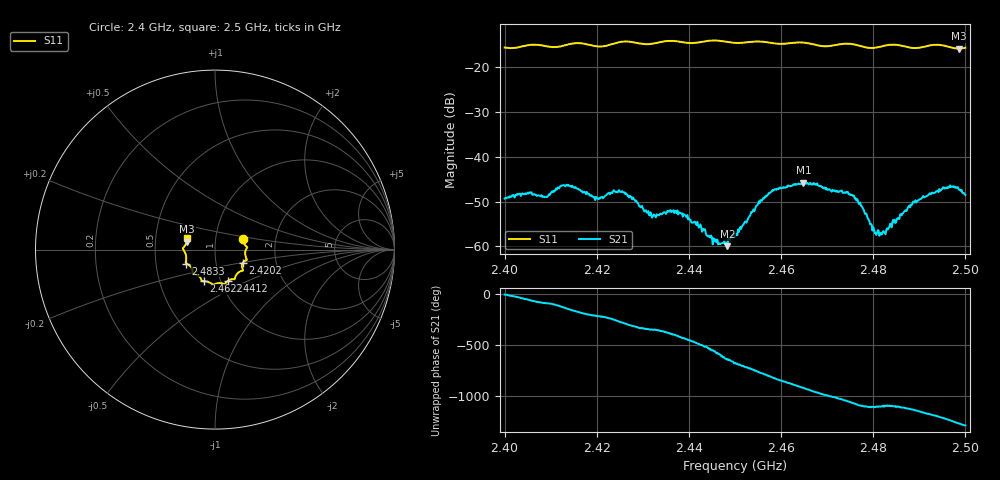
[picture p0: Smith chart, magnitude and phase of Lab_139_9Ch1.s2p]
# Hz S RI R 50
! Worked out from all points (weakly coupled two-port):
!   601 points, 2.4 GHz to 2.5 GHz, reference 50 ohm
!   highest |S21| = -45.77 dB at 2.4648 GHz (marker M1); lowest = -60.0 dB at 2.4483 GHz (marker M2)
!   lowest |S11| = -15.8 dB at 2.4987 GHz (marker M3), VSWR 1.39, Z = 36.4 + j3.36 ohm
!   |S11| at or under -10 dB: start of sweep to end of sweep
!   S12 and S22 are empty: the file has one direction only
!   S11 on the Smith chart (normalised r, x): 2.4 GHz: 1.36, +0.16; 2.4202 GHz: 1.35, -0.20; 2.4412 GHz: 1.09, -0.39; 2.4622 GHz: 0.83, -0.30; 2.4833 GHz: 0.72, -0.12; 2.5 GHz: 0.73, +0.09
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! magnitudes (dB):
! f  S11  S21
! 2.4 GHz  -15.6  -49.3
! 2.4088 GHz  -15.2  -49.0
! 2.413 GHz  -15.1  -46.4
! 2.4167 GHz  -14.6  -47.7
! 2.4202 GHz  -15.3  -49.3
! 2.4253 GHz  -14.3  -47.8
! 2.4333 GHz  -14.4  -53.0
! 2.437 GHz  -14.1  -52.3
! 2.4412 GHz  -14.5  -54.5
! 2.4455 GHz  -14.0  -58.5
! 2.4483 GHz  -14.3  -60.0
! 2.45 GHz  -14.5  -57.9
! 2.4577 GHz  -14.5  -48.0
! 2.4622 GHz  -14.5  -46.5
! 2.4648 GHz  -14.4  -45.8
! 2.4667 GHz  -14.8  -46.2
! 2.4757 GHz  -14.8  -48.8
! 2.4803 GHz  -15.6  -57.0
! 2.4833 GHz  -15.0  -56.0
! 2.4903 GHz  -15.5  -49.4
! 2.4987 GHz  -15.8  -47.4
! 2.5 GHz  -15.6  -48.5
